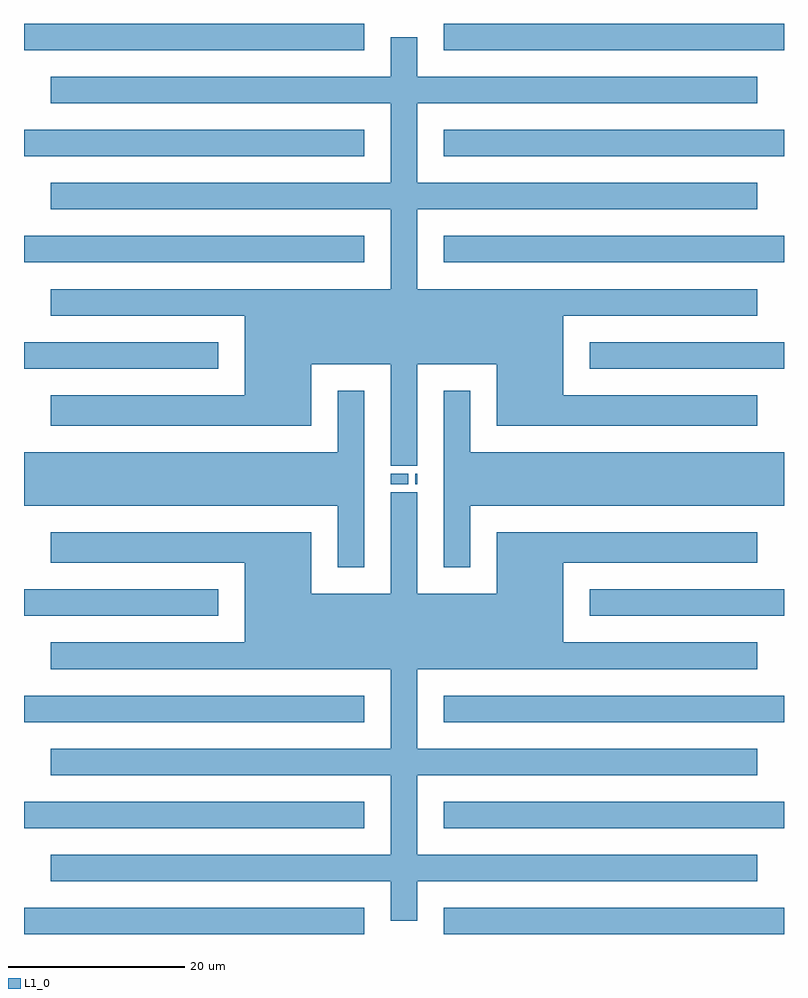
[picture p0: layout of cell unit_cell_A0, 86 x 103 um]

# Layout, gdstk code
from math import pi, radians
import gdstk
lib = gdstk.Library(unit=1e-6, precision=1e-09)
def R(c, l, rs):  # rectangles x0, y0, x1, y1
    for r in rs: c.add(gdstk.rectangle(r[:2], r[2:], *l))
def P(c, l, *ps):  # polygons
    for p in ps: c.add(gdstk.Polygon(p, *l))
L1_0 = (1, 0)

unnamed_295 = lib.new_cell('Unnamed_295')
P(unnamed_295, L1_0, [(38.5,0),(38.5,4.5),(0,4.5),(0,7.5),(38.5,7.5),(38.5,16.5),(0,16.5),(0,19.5),(38.5,19.5),(38.5,28.5),(0,28.5),(0,31.5),(22,31.5),(22,40.5),(0,40.5),(0,44),(29.5,44),(29.5,37),(38.5,37),(38.5,48.5),(40,48.5),(40,0)])

straight_l38p5_n2_csxs_e = lib.new_cell('straight_L38p5_N2_CSxs_e9659eb0')
R(straight_l38p5_n2_csxs_e, L1_0, [(0,-1.5,38.5,1.5)])

straight_array_n3_s9_l3_ = lib.new_cell('straight_array_N3_S9_L3_b91b2c6a')
straight_array_n3_s9_l3_.add(gdstk.Reference(straight_l38p5_n2_csxs_e, (0,0)))
straight_array_n3_s9_l3_.add(gdstk.Reference(straight_l38p5_n2_csxs_e, (0,12)))
straight_array_n3_s9_l3_.add(gdstk.Reference(straight_l38p5_n2_csxs_e, (0,24)))

straight_l22_n2_csxs_e96 = lib.new_cell('straight_L22_N2_CSxs_e9659eb0')
R(straight_l22_n2_csxs_e96, L1_0, [(0,-1.5,22,1.5)])

unnamed_290 = lib.new_cell('Unnamed_290')
unnamed_290.add(gdstk.Reference(straight_array_n3_s9_l3_, (-3,0)))
unnamed_290.add(gdstk.Reference(straight_l22_n2_csxs_e96, (-3,36)))

straight_l35p5_n2_csxs_4 = lib.new_cell('straight_L35p5_N2_CSxs_41e8578a')
R(straight_l35p5_n2_csxs_4, L1_0, [(0,-3,35.5,3)])

triangle_x10_x3_y3_y3_l1 = lib.new_cell('triangle_X10_X3_Y3_Y3_L1_0')
R(triangle_x10_x3_y3_y3_l1, L1_0, [(0,0,10,3)])

unnamed_293 = lib.new_cell('Unnamed_293')
unnamed_293.add(gdstk.Reference(straight_l35p5_n2_csxs_4, (-3,50)))
unnamed_293.add(gdstk.Reference(triangle_x10_x3_y3_y3_l1, (35.5,50), rotation=3*pi/2, x_reflection=True))

unnamed_296 = lib.new_cell('Unnamed_296')
unnamed_296.add(gdstk.Reference(unnamed_295, (0,0)))
unnamed_296.add(gdstk.Reference(unnamed_290, (0,0)))
unnamed_296.add(gdstk.Reference(unnamed_293, (0,0)))

rectangle_s2_0p6_lwg_cf_ = lib.new_cell('rectangle_S2_0p6_LWG_CF_a6a46f17')
R(rectangle_s2_0p6_lwg_cf_, L1_0, [(0,0,2,0.6)])

rectangle_s0p2_1p2_lwg__ = lib.new_cell('rectangle_S0p2_1p2_LWG__107b6a9b')
R(rectangle_s0p2_1p2_lwg__, L1_0, [(0,0,0.2,1.2)])

unnamed_297 = lib.new_cell('Unnamed_297')
unnamed_297.add(gdstk.Reference(rectangle_s2_0p6_lwg_cf_, (0,0)))
unnamed_297.add(gdstk.Reference(rectangle_s0p2_1p2_lwg__, (2.8,-0.6)))

unit_cell_a0 = lib.new_cell('unit_cell_A0')
unit_cell_a0.add(gdstk.Reference(unnamed_296, (0,0)))
unit_cell_a0.add(gdstk.Reference(unnamed_296, (80,0), rotation=pi, x_reflection=True))
unit_cell_a0.add(gdstk.Reference(unnamed_296, (0,100), x_reflection=True))
unit_cell_a0.add(gdstk.Reference(unnamed_296, (80,100), rotation=pi))
unit_cell_a0.add(gdstk.Reference(unnamed_297, (38.5,50)))
unit_cell_a0.add(gdstk.Reference(unnamed_297, (38.5,50), x_reflection=True))

lib.write_gds('unit_cell_A0.gds')
